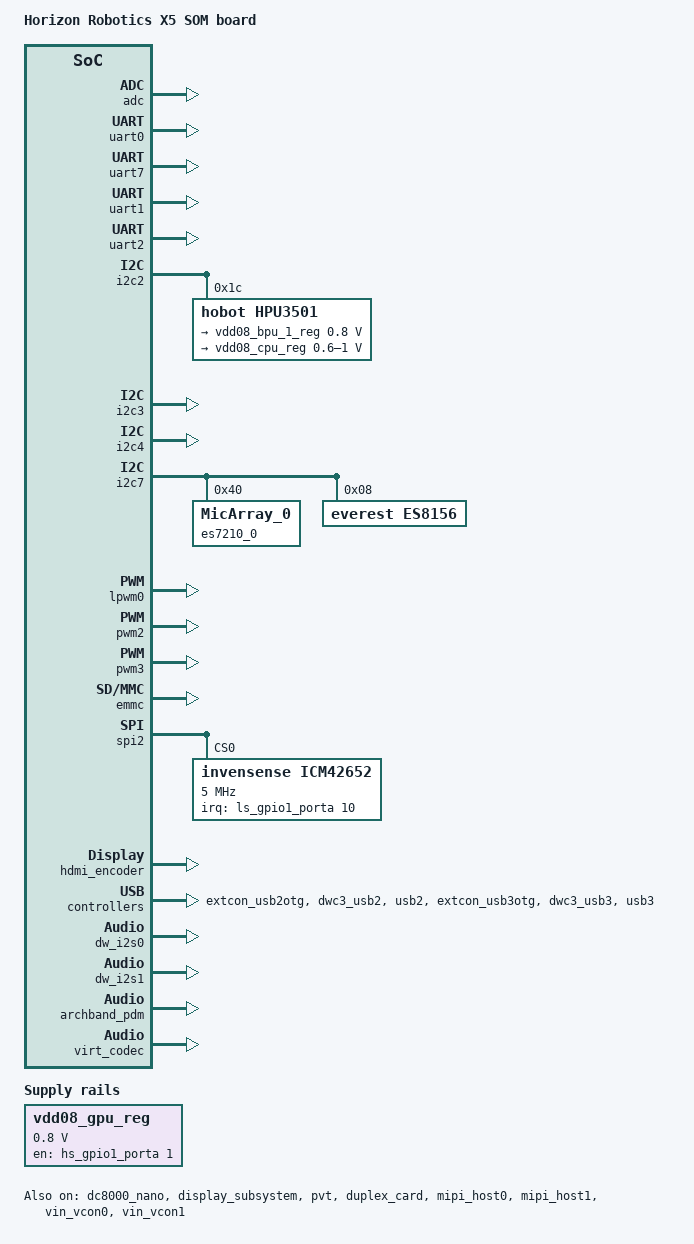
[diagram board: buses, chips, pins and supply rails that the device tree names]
// SPDX-License-Identifier: GPL-2.0
/*
 * dts for Sunrise5 som platform
 *
 * Copyright (C) 2024 Horizon Robotics Inc.
 *
 */

/dts-v1/;
#include "x5.dtsi"
#include "x5-memory.dtsi"
#include "pinmux-func.dtsi"
#include "pinmux-gpio.dtsi"

/ {
	model = "Horizon Robotics X5 SOM board";
	compatible = "Horizon, x5";

	#address-cells = <2>;
	#size-cells = <2>;

	gua_audio_rpc_wrapper:audio-rpc-wrapper {
		compatible = "gua,audio-rpc-wrapper";
		rpmsg-enable;
		status = "disabled";
	};

	ipc_wrapper:ipc-wrapper {
		compatible = "gua,ipc-wrapper";
		rpmsg-enable;
		status = "disabled";
	};

	sound_misc_0:misc-hifi {
		compatible = "gua,misc-hifi-core";
										// core channel
		control-rpmsg-channel-mapping = <0x00 0x00	// a core to hifi 0
										>;
		msg-wrapper = <&ipc_wrapper>;
		memory-region = <&adsp_bsp_reserved>;
		status = "disabled";
	};

	sound_cpu:cpu-dai {
		compatible = "gua,cpu-dai";
		msg-wrapper = <&ipc_wrapper>;
		gua,pcm-buffer-size = <0x1E000>;
		pcm-rpmsg-channel-mapping = <0x00>, <0x00>, <0x00>, <0x00>, <0x00>;
		status = "disabled";
	};

	sound-machine {
		compatible = "gua,sound-card";
		model = "gua-audio";
		cpu-dai = <&sound_cpu>;
		memory-region = <&audio_reserved>;
		status = "disabled";
	};

	vdd08_gpu_reg: vdd08_gpu_reg@3 {
		status = "okay";
		compatible = "regulator-gpio";
		pinctrl-names = "default";
		pinctrl-0 = <&hsio_gpio1_1>;
		regulator-name = "VCC_GPU";
		regulator-min-microvolt = <800000>;
		regulator-max-microvolt = <800000>;
		regulator-enable-ramp-delay = <3000>;
		enable-gpio = <&hs_gpio1_porta 1 GPIO_ACTIVE_HIGH>;
		states = <800000 0>;
		startup-delay-us = <3000>;
		enable-active-high;
	};

};

&cpu_0 {
	cpu-supply = <&vdd08_cpu_reg>;
};

&cpu_1 {
	cpu-supply = <&vdd08_cpu_reg>;
};

&cpu_2 {
	cpu-supply = <&vdd08_cpu_reg>;
};

&cpu_3 {
	cpu-supply = <&vdd08_cpu_reg>;
};

&cpu_4 {
	cpu-supply = <&vdd08_cpu_reg>;
};

&cpu_5 {
	cpu-supply = <&vdd08_cpu_reg>;
};

&cpu_6 {
	cpu-supply = <&vdd08_cpu_reg>;
};

&cpu_7 {
	cpu-supply = <&vdd08_cpu_reg>;
};

&x5_bpu_pd {
	bpu-supply = <&vdd08_bpu_1_reg>;
};

&x5_gpu_pd {
	gpu-supply = <&vdd08_gpu_reg>;
};

&lsio_iomuxc {
	icm_int1: icm-int1 {
		horizon,pins = <
			LSIO_I2C1_SDA	LSIO_PINMUX_2	BIT_OFFSET22	MUX_ALT1	&pconf_input_en_3v3
		>;
	};
};

&adc {
	status = "okay";
};

&uart0 {
	status = "okay";
};

&uart7 {
	status = "okay";
	pinctrl-names = "default";
	pinctrl-0 = <&pinctrl_uart7>;
};

&uart1 {
	status = "okay";
	pinctrl-names = "default";
	pinctrl-0 = <&pinctrl_uart1>;
};

&uart2 {
	status = "okay";
	pinctrl-names = "default";
	pinctrl-0 = <&pinctrl_uart2>;
};

&axi_dmac {
	status = "okay";
};


&i2c2 {
	status = "okay";
	pinctrl-names = "default";
	pinctrl-0 = <&pinctrl_i2c2>;
	hpu3501@1c {
		compatible = "hobot, hpu3501";
		reg = <0x1c>;
		status = "okay";
		hpu3501-regulator {
			master;
			en_pin_map = <0x15>;
			regulators {
				vdd08_bpu_1_reg: BUCK2 {
					regulator-name = "VCC_BPU";
					regulator-min-microvolt = <800000>;
					regulator-max-microvolt = <800000>;
					regulator-enable-ramp-delay = <3000>;
					regulator-ramp-delay = <2000>;
				};
				vdd08_cpu_reg: BUCK3 {
					regulator-name = "VDD08_CPU";
					regulator-min-microvolt = <600000>;
					regulator-max-microvolt = <1000000>;
					regulator-enable-ramp-delay = <3000>;
					regulator-ramp-delay = <2000>;
					regulator-always-on;
					regulator-boot-on;
				};
			};
		};

	};
};

&i2c3 {
	status = "okay";
	pinctrl-names = "default";
	pinctrl-0 = <&pinctrl_i2c3>;
};

&i2c4 {
	status = "okay";
	pinctrl-names = "default";
	pinctrl-0 = <&pinctrl_i2c4>;
};

&i2c7 {
	status = "okay";
	es7210_0: es7210_0@40 {
		compatible = "MicArray_0";
		reg = <0x40>;
		#sound-dai-cells = <1>;
		channels = <4>;
		adc_dev_num = <1>;
		status = "okay";
	};

	es8156: es8156@8 {
		compatible = "everest,es8156";
		reg = <0x8>;
		#sound-dai-cells = <0>;
		status = "okay";
	};
};

&lpwm0 {
	status = "okay";
	/* conflict with lsio_gpio1_0 */
	// pinctrl-names = "default";
	// pinctrl-0 = <&pinctrl_lpwm0_0 &pinctrl_lpwm0_2>;
};

&pwm2 {
	status = "okay";
	pinctrl-names = "default";
	pinctrl-0 = <&pinctrl_pwm2_1>;
};

&pwm3 {
	status = "okay";
	pinctrl-names = "default";
	pinctrl-0 = <&pinctrl_pwm3_0 &pinctrl_pwm3_1>;
};

&emmc {
	status = "okay";
	pinctrl-names = "default";
	pinctrl-0 = <&pinctrl_emmc>;
	fixed-emmc-driver-type = <2>;
};

&spi2 {
	status = "okay";
	pinctrl-names = "default";
	pinctrl-0 = <&pinctrl_spi2>;

	icm42652@0 {
		compatible = "invensense,icm42652";
		reg = <0>;
		spi-max-frequency = <5000000>;
		spi-cpha;
		spi-cpol;
		interrupt-parent = <&ls_gpio1_porta>;
		interrupts = <10 IRQ_TYPE_EDGE_FALLING>;
		pinctrl-names = "default";
		pinctrl-0 = <&icm_int1>;
	};
};

&dc8000_nano {
	status = "okay";
};

&hdmi_encoder {
	status = "okay";
};

&display_subsystem {
	status = "okay";
};

&extcon_usb2otg {
	pinctrl-names = "default";
	pinctrl-0 = <&aon_gpio_6>;

	id-gpios = <&aon_gpio_porta 6 GPIO_ACTIVE_HIGH>;

	status = "okay";
};

&dwc3_usb2 {
	extcon = <&extcon_usb2otg>;

	status = "okay";
};

&usb2 {
	status = "okay";
};

&extcon_usb3otg {
	pinctrl-names = "default";
	pinctrl-0 = <&aon_gpio_5>;

	id-gpios = <&aon_gpio_porta 5 GPIO_ACTIVE_HIGH>;

	status = "okay";
};

&dwc3_usb3 {
	role-switch-default-mode = "host";
	extcon = <&extcon_usb3otg>;

	status = "okay";
};

&usb3 {
	status = "okay";
};

&dsp_axi_dma {
	status = "okay";
};

&dw_i2s0 {
	status = "okay";
};

&dw_i2s1 {
	status = "okay";
};

&archband_pdm {
	status = "okay";
};

&virt_codec {
	status = "okay";
};

&mailbox0 {
	status = "disabled";
};

&ipc_instance0 {
	status = "disabled";
};

&ipc_instance1 {
	status = "disabled";
};

&ipc_instance2 {
	status = "disabled";
};

&pvt {
	status = "okay";
};

&remoteproc_hifi5 {
	status = "disabled";
	hifi5-rpmsg-channel-mapping = <0x00>, <0x00>;
	msg-wrapper = <&ipc_wrapper>;
};

&hpsclks {
	status = "okay";
};

&dspclks {
	status = "okay";
};

&aonclks {
	status = "okay";
};

&sound {
	status = "okay";
	#address-cells = <1>;
	#size-cells = <0>;
	simple-audio-card,name = "simple-audio-card";

	simple-audio-card,dai-link@0 {
		link-name = "dw-i2s0-dai-link";
		reg = <1>;
		format = "i2s";
		mclk-fs = <64>;
		bitclock-master = <&play_master0>;
		frame-master = <&play_master0>;
		play_master0: cpu {
			sound-dai = <&dw_i2s0>;
		};
		codec {
			sound-dai = <&es8156>;
		};
	};

	simple-audio-card,dai-link@2 {
		link-name = "dw-i2s1-dai-link";
		reg = <1>;
		format = "dsp_a";
		mclk-fs = <64>;
		bitclock-master = <&capture_master0>;
		frame-master = <&capture_master0>;
		capture_master0: cpu {
			sound-dai = <&dw_i2s1>;
		};
		codec {
			sound-dai = <&es7210_0 0>;
		};
	};

	simple-audio-card,dai-link@1 {
		link-name = "archband-pdm-dai-link";
		reg = <1>;
		format = "i2s";
		mclk-fs = <64>;
		bitclock-master = <&arb_dai>;
		frame-master = <&arb_dai>;
		arb_dai: cpu {
			sound-dai = <&archband_pdm>;
		};
		codec {
			sound-dai = <&virt_codec>;
		};
	};
};

&duplex_card {
	status = "okay";
	#address-cells = <1>;
	#size-cells = <0>;
	simple-audio-card,name = "duplex-audio-card";
	simple-audio-card,dai-link@0 {
		link-name = "dummy-dai-link0";
		reg = <1>;
		format = "i2s";
		mclk-fs = <64>;
		bitclock-master = <&dummy_master0>;
		frame-master = <&dummy_master0>;
		dummy_master0: cpu {
				sound-dai = <&dw_i2s0>;
		};
		codec {
				sound-dai = <&virt_codec>;
		};
	};

	simple-audio-card,dai-link@1 {
		link-name = "dummy-dai-link1";
		reg = <1>;
		format = "i2s";
		mclk-fs = <64>;
		bitclock-master = <&dummy_master1>;
		frame-master = <&dummy_master1>;
		cpu {
				sound-dai = <&dw_i2s1>;
		};
		dummy_master1: codec {
				sound-dai = <&virt_codec>;
		};
	};
};

&mipi_host0 {
	status = "okay";
	pinctrl-names = "enable", "disable";
	pinctrl-0 = <&pinctrl_sensor2_mclk>; //mclk2
	pinctrl-1 = <&lsio_gpio0_26>;
	snrclk-idx = <2>;  //mclk index
};

&mipi_host1 {
	status = "okay";
	pinctrl-names = "enable", "disable";
	pinctrl-0 = <&pinctrl_sensor3_mclk>; //mclk3
	pinctrl-1 = <&lsio_gpio0_27>;
	snrclk-idx = <3>;  //mclk index
};

&vin_vcon0 {
	status = "okay";  //has enabled in x5.dtsi
	/* camera sensor
	   power_en gpio:  HSIO_GPIO0_07:       473
	   reset gpio:	   HSIO_GPIO0_01:       467
	   pwd gpio:       LSIO_GPIO1_02:       349
	*/
	pinctrl-names = "default";
	pinctrl-0 = <&hsio_gpio0_7 &hsio_gpio0_1 &lsio_gpio1_2>;
	gpio_oth = <473 467 349>;   //power_en gpio、 reset gpio、pwd gpio
	bus = <4>;	//i2c-4
};

&vin_vcon1 {
	status = "okay";  //has enabled in x5.dtsi
	/* camera sensor
	   power_en gpio:  HSIO_GPIO0_08:       474
           reset gpio:     HSIO_GPIO0_00:       466
	   pwd gpio:       LSIO_GPIO1_02:       347
	*/
	pinctrl-names = "default";
	pinctrl-0 = <&hsio_gpio0_8 &hsio_gpio0_0 &lsio_gpio1_0>;
	gpio_oth = <474 466 347>;   //power_en gpio、reset gpio、pwd gpio
	bus = <3>;	//i2c-3
};

&bpu {
	cnn-supply = <&vdd08_bpu_1_reg>;
};

&efuse{
	/* use aon gpio7 as efuse power */
	pinctrl-names = "default";
	pinctrl-0 = <&aon_gpio_7>;
};
